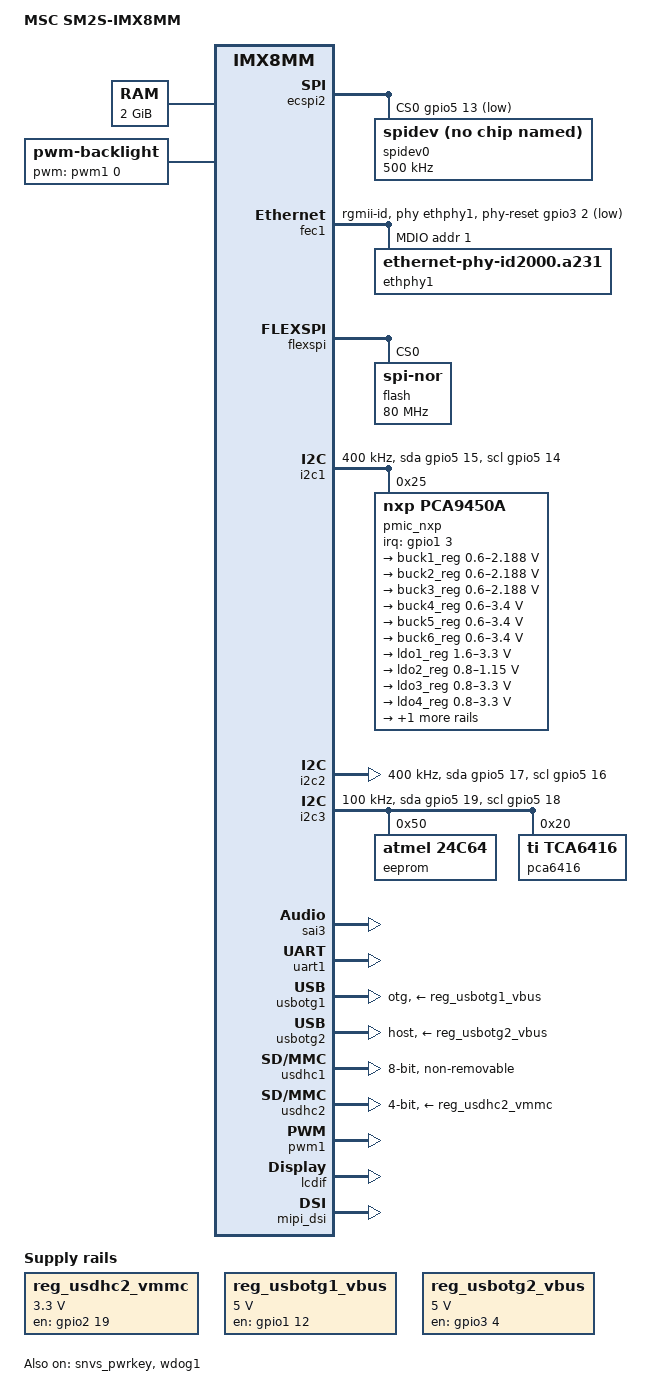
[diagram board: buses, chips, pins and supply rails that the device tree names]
// SPDX-License-Identifier: (GPL-2.0+ OR MIT)
/*
 * Copyright 2024 Avnet Silica
 */

/dts-v1/;

#include <dt-bindings/net/ti-dp83867.h>
#include <dt-bindings/phy/phy-imx8-pcie.h>
#include <dt-bindings/usb/pd.h>
#include "imx8mm.dtsi"

/ {
	model = "MSC SM2S-IMX8MM";
	compatible = "msc,sm2s-imx8mm", "msc,imx8mm";

	aliases {
		mmc0 = &usdhc1;
		mmc1 = &usdhc2;
		ethernet0 = &fec1;
	};

	chosen {
		stdout-path = &uart1;
		bootargs = "console=ttymxc0,115200 earlycon=ec_imx6q,0x30860000,115200";
	};

	memory@40000000 {
		device_type = "memory";
		reg = <0x0 0x40000000 0 0x80000000>;
	};

	reg_usdhc2_vmmc: regulator-usdhc2 {
		compatible = "regulator-fixed";
		regulator-name = "VSD_3V3";
		regulator-min-microvolt = <3300000>;
		regulator-max-microvolt = <3300000>;
		gpio = <&gpio2 19 GPIO_ACTIVE_HIGH>;
		enable-active-high;
	};

	reg_usbotg1_vbus: regulator-usbotg1-vbus {
		compatible = "regulator-fixed";
		pinctrl-names = "default";
		pinctrl-0 = <&pinctrl_reg_usbotg1>;
		regulator-name = "regulator-usbotg1-vbus";
		gpio = <&gpio1 12 GPIO_ACTIVE_HIGH>;
		regulator-min-microvolt = <5000000>;
		regulator-max-microvolt = <5000000>;
		enable-active-high;
	};

	reg_usbotg2_vbus: regulator-usbotg2-vbus {
		compatible = "regulator-fixed";
		pinctrl-names = "default";
		pinctrl-0 = <&pinctrl_reg_usbotg2>;
		regulator-name = "regulator-usbotg2-vbus";
		gpio = <&gpio3 4 GPIO_ACTIVE_HIGH>;
		regulator-min-microvolt = <5000000>;
		regulator-max-microvolt = <5000000>;
		enable-active-high;
	};

	backlight: backlight {
		compatible = "pwm-backlight";
		pwms = <&pwm1 0 5000000 0>;
		brightness-levels = <0 255>;
		num-interpolated-steps = <255>;
		default-brightness-level = <250>;
	};

	dsi_host: dsi-host {
		compatible = "samsung,sec-mipi-dsi";
		status = "okay";
	};
};

&A53_0 {
	cpu-supply = <&buck2_reg>;
};

&A53_1 {
	cpu-supply = <&buck2_reg>;
};

&A53_2 {
	cpu-supply = <&buck2_reg>;
};

&A53_3 {
	cpu-supply = <&buck2_reg>;
};


&ecspi2 {
	#address-cells = <1>;
	#size-cells = <0>;
	pinctrl-names = "default";
	pinctrl-0 = <&pinctrl_ecspi2 &pinctrl_ecspi2_cs>;
	cs-gpios = <&gpio5 13 GPIO_ACTIVE_LOW>;
	status = "okay";

	spidev0: spi@0 {
		reg = <0>;
		compatible = "rohm,dh2228fv";
		spi-max-frequency = <500000>;
	};
};

&fec1 {
	pinctrl-names = "default";
	pinctrl-0 = <&pinctrl_fec1>;
	phy-mode = "rgmii-id";
	phy-handle = <&ethphy1>;
	phy-reset-gpios = <&gpio3 2 GPIO_ACTIVE_LOW>;
	fsl,magic-packet;
	status = "okay";

	mdio {
		#address-cells = <1>;
		#size-cells = <0>;

		ethphy1: ethernet-phy@1 {
			reg = <1>;
			compatible = "ethernet-phy-id2000.a231";
			ti,rx-internal-delay = <DP83867_RGMIIDCTL_2_25_NS>;
			ti,tx-internal-delay = <DP83867_RGMIIDCTL_2_75_NS>;
			ti,fifo-depth = <DP83867_PHYCR_FIFO_DEPTH_4_B_NIB>;
		};
	};
};

&flexspi {
	pinctrl-names = "default";
	pinctrl-0 = <&pinctrl_flexspi>;
	status = "okay";

	flash@0 {
		reg = <0>;
		#address-cells = <1>;
		#size-cells = <1>;
		compatible = "jedec,spi-nor";
		spi-max-frequency = <80000000>;
		spi-tx-bus-width = <1>;
		spi-rx-bus-width = <4>;
	};
};

&i2c1 {
	clock-frequency = <400000>;
	pinctrl-names = "default", "gpio";
	pinctrl-0 = <&pinctrl_i2c1>;
	pinctrl-1 = <&pinctrl_i2c1_gpio>;
	scl-gpios = <&gpio5 14 GPIO_ACTIVE_HIGH>;
	sda-gpios = <&gpio5 15 GPIO_ACTIVE_HIGH>;
	status = "okay";

	pmic_nxp: pca9450@25 {
		compatible = "nxp,pca9450a";
		reg = <0x25>;
		pinctrl-0 = <&pinctrl_pmic>;
		pinctrl-names = "default";
		interrupt-parent = <&gpio1>;
		interrupts = <3 IRQ_TYPE_LEVEL_LOW>;

		regulators {
			buck1_reg: BUCK1 {
				regulator-name = "BUCK1";
				regulator-min-microvolt = <600000>;
				regulator-max-microvolt = <2187500>;
				regulator-boot-on;
				regulator-always-on;
				regulator-ramp-delay = <3125>;
				nxp,dvs-run-voltage = <850000>;
				nxp,dvs-standby-voltage = <800000>;
			};

			buck2_reg: BUCK2 {
				regulator-name = "BUCK2";
				regulator-min-microvolt = <600000>;
				regulator-max-microvolt = <2187500>;
				regulator-boot-on;
				regulator-always-on;
				regulator-ramp-delay = <3125>;
			};

			buck3_reg: BUCK3 {
				regulator-name = "BUCK3";
				regulator-min-microvolt = <600000>;
				regulator-max-microvolt = <2187500>;
				regulator-boot-on;
				regulator-always-on;
			};

			buck4_reg: BUCK4 {
				regulator-name = "BUCK4";
				regulator-min-microvolt = <600000>;
				regulator-max-microvolt = <3400000>;
				regulator-boot-on;
				regulator-always-on;
			};

			buck5_reg: BUCK5 {
				regulator-name = "BUCK5";
				regulator-min-microvolt = <600000>;
				regulator-max-microvolt = <3400000>;
				regulator-boot-on;
				regulator-always-on;
			};

			buck6_reg: BUCK6 {
				regulator-name = "BUCK6";
				regulator-min-microvolt = <600000>;
				regulator-max-microvolt = <3400000>;
				regulator-boot-on;
				regulator-always-on;
			};

			ldo1_reg: LDO1 {
				regulator-name = "LDO1";
				regulator-min-microvolt = <1600000>;
				regulator-max-microvolt = <3300000>;
				regulator-boot-on;
				regulator-always-on;
			};

			ldo2_reg: LDO2 {
				regulator-name = "LDO2";
				regulator-min-microvolt = <800000>;
				regulator-max-microvolt = <1150000>;
				regulator-boot-on;
				regulator-always-on;
			};

			ldo3_reg: LDO3 {
				regulator-name = "LDO3";
				regulator-min-microvolt = <800000>;
				regulator-max-microvolt = <3300000>;
				regulator-boot-on;
				regulator-always-on;
			};

			ldo4_reg: LDO4 {
				regulator-name = "LDO4";
				regulator-min-microvolt = <800000>;
				regulator-max-microvolt = <3300000>;
				regulator-boot-on;
				regulator-always-on;
			};

			ldo5_reg: LDO5 {
				regulator-name = "LDO5";
				regulator-min-microvolt = <1800000>;
				regulator-max-microvolt = <3300000>;
			};

		};
	};
};

&i2c2 {
	clock-frequency = <400000>;
	pinctrl-names = "default", "gpio";
	pinctrl-0 = <&pinctrl_i2c2>;
	pinctrl-1 = <&pinctrl_i2c2_gpio>;
	scl-gpios = <&gpio5 16 GPIO_ACTIVE_HIGH>;
	sda-gpios = <&gpio5 17 GPIO_ACTIVE_HIGH>;
	status = "okay";
};

&i2c3 {
	clock-frequency = <100000>;
	pinctrl-names = "default", "gpio";
	pinctrl-0 = <&pinctrl_i2c3>;
	pinctrl-1 = <&pinctrl_i2c3_gpio>;
	scl-gpios = <&gpio5 18 GPIO_ACTIVE_HIGH>;
	sda-gpios = <&gpio5 19 GPIO_ACTIVE_HIGH>;
	status = "okay";

	eeprom@50 {
		compatible = "atmel,24c64";
		reg = <0x50>;
	};

	pca6416: gpio@20 {
		compatible = "ti,tca6416";
		reg = <0x20>;
		gpio-controller;
		#gpio-cells = <2>;
	};
};

&sai3 {
	pinctrl-names = "default";
	pinctrl-0 = <&pinctrl_sai3>;
	assigned-clocks = <&clk IMX8MM_CLK_SAI3>;
	assigned-clock-parents = <&clk IMX8MM_AUDIO_PLL1_OUT>;
	assigned-clock-rates = <24576000>;
	status = "okay";
};

&snvs_pwrkey {
	status = "okay";
};

&uart1 { /* console */
	pinctrl-names = "default";
	pinctrl-0 = <&pinctrl_uart1>;
	uart-has-rtscts;
	status = "okay";
};

&usbotg1 {
	pinctrl-names = "default";
	pinctrl-0 = <&pinctrl_usbotg1_id>;
	dr_mode = "otg";
	extcon;
	disable-over-current;
	vbus-supply = <&reg_usbotg1_vbus>;
	status = "okay";
};

&usbotg2 {
	pinctrl-names = "default";
	pinctrl-0 = <&pinctrl_usbotg2>;
	dr_mode = "host";
	disable-over-current;
	vbus-supply = <&reg_usbotg2_vbus>;
	status = "okay";
};

/* Module eMMC */
&usdhc1 {
	pinctrl-names = "default", "state_100mhz", "state_200mhz";
	pinctrl-0 = <&pinctrl_usdhc1>, <&pinctrl_usdhc1_reset>;
	pinctrl-1 = <&pinctrl_usdhc1_100mhz>, <&pinctrl_usdhc1_reset>;
	pinctrl-2 = <&pinctrl_usdhc1_200mhz>, <&pinctrl_usdhc1_reset>;
	bus-width = <8>;
	non-removable;
	status = "okay";
};

/* Baseboard sd */
&usdhc2 {
	pinctrl-names = "default", "state_100mhz", "state_200mhz";
	pinctrl-0 = <&pinctrl_usdhc2>, <&pinctrl_usdhc2_gpio>;
	pinctrl-1 = <&pinctrl_usdhc2_100mhz>, <&pinctrl_usdhc2_gpio>;
	pinctrl-2 = <&pinctrl_usdhc2_200mhz>, <&pinctrl_usdhc2_gpio>;
	bus-width = <4>;
	vmmc-supply = <&reg_usdhc2_vmmc>;
	status = "okay";
};

&wdog1 {
	pinctrl-names = "default";
	pinctrl-0 = <&pinctrl_wdog>;
	fsl,ext-reset-output;
	status = "okay";
};

&pwm1 {
	pinctrl-names = "default";
	pinctrl-0 = <&pinctrl_backlight>;
	status = "okay";
};

&lcdif {
	status = "okay";
};

&mipi_dsi {
	status = "okay";
};

&iomuxc {
	pinctrl_ecspi2: ecspi2grp {
		fsl,pins = <
			MX8MM_IOMUXC_ECSPI2_SCLK_ECSPI2_SCLK		0x82
			MX8MM_IOMUXC_ECSPI2_MOSI_ECSPI2_MOSI		0x82
			MX8MM_IOMUXC_ECSPI2_MISO_ECSPI2_MISO		0x82
		>;
	};

	pinctrl_ecspi2_cs: ecspi2csgrp {
		fsl,pins = <
			MX8MM_IOMUXC_ECSPI2_SS0_GPIO5_IO13		0x40000
		>;
	};

	pinctrl_fec1: fec1grp {
		fsl,pins = <
			MX8MM_IOMUXC_ENET_MDC_ENET1_MDC			0x3
			MX8MM_IOMUXC_ENET_MDIO_ENET1_MDIO		0x3
			MX8MM_IOMUXC_ENET_TX_CTL_ENET1_RGMII_TX_CTL	0x1f
			MX8MM_IOMUXC_ENET_TXC_ENET1_RGMII_TXC		0x1f
			MX8MM_IOMUXC_ENET_TD0_ENET1_RGMII_TD0		0x1f
			MX8MM_IOMUXC_ENET_TD1_ENET1_RGMII_TD1		0x1f
			MX8MM_IOMUXC_ENET_TD2_ENET1_RGMII_TD2		0x1f
			MX8MM_IOMUXC_ENET_TD3_ENET1_RGMII_TD3		0x1f
			MX8MM_IOMUXC_ENET_RX_CTL_ENET1_RGMII_RX_CTL	0x91
			MX8MM_IOMUXC_ENET_RXC_ENET1_RGMII_RXC		0x91
			MX8MM_IOMUXC_ENET_RD0_ENET1_RGMII_RD0		0x91
			MX8MM_IOMUXC_ENET_RD1_ENET1_RGMII_RD1		0x91
			MX8MM_IOMUXC_ENET_RD2_ENET1_RGMII_RD2		0x91
			MX8MM_IOMUXC_ENET_RD3_ENET1_RGMII_RD3		0x91
			MX8MM_IOMUXC_NAND_CE1_B_GPIO3_IO2		0x19
			MX8MM_IOMUXC_NAND_CE2_B_GPIO3_IO3		0x40000019
			MX8MM_IOMUXC_GPIO1_IO08_ENET1_1588_EVENT0_IN	0x19
		>;
	};

	pinctrl_gpio_wlf: gpiowlfgrp {
		fsl,pins = <
			MX8MM_IOMUXC_I2C4_SDA_GPIO5_IO21	0xd6
		>;
	};

	pinctrl_i2c1: i2c1grp {
		fsl,pins = <
			MX8MM_IOMUXC_I2C1_SCL_I2C1_SCL			0x400001c3
			MX8MM_IOMUXC_I2C1_SDA_I2C1_SDA			0x400001c3
		>;
	};

	pinctrl_i2c2: i2c2grp {
		fsl,pins = <
			MX8MM_IOMUXC_I2C2_SCL_I2C2_SCL			0x400001c3
			MX8MM_IOMUXC_I2C2_SDA_I2C2_SDA			0x400001c3
		>;
	};

	pinctrl_i2c3: i2c3grp {
		fsl,pins = <
			MX8MM_IOMUXC_I2C3_SCL_I2C3_SCL			0x400001c3
			MX8MM_IOMUXC_I2C3_SDA_I2C3_SDA			0x400001c3
		>;
	};

	pinctrl_i2c1_gpio: i2c1-gpiogrp {
		fsl,pins = <
			MX8MM_IOMUXC_I2C1_SCL_GPIO5_IO14        		0x1c3
			MX8MM_IOMUXC_I2C1_SDA_GPIO5_IO15        	0x1c3
		>;
	};

	pinctrl_i2c2_gpio: i2c2-gpiogrp {
		fsl,pins = <
			MX8MM_IOMUXC_I2C2_SCL_GPIO5_IO16        		0x1c3
			MX8MM_IOMUXC_I2C2_SDA_GPIO5_IO17        	0x1c3
		>;
	};

	pinctrl_i2c3_gpio: i2c3-gpiogrp {
		fsl,pins = <
			MX8MM_IOMUXC_I2C3_SCL_GPIO5_IO18        		0x1c3
			MX8MM_IOMUXC_I2C3_SDA_GPIO5_IO19        	0x1c3
		>;
	};

	pinctrl_pmic: pmicirqgrp {
		fsl,pins = <
			MX8MM_IOMUXC_GPIO1_IO03_GPIO1_IO3		0x141
		>;
	};

	pinctrl_sai3: sai3grp {
		fsl,pins = <
			MX8MM_IOMUXC_SAI3_TXFS_SAI3_TX_SYNC     0xd6
			MX8MM_IOMUXC_SAI3_TXC_SAI3_TX_BCLK      0xd6
			MX8MM_IOMUXC_SAI3_MCLK_SAI3_MCLK        0xd6
			MX8MM_IOMUXC_SAI3_TXD_SAI3_TX_DATA0     0xd6
		>;
	};

	pinctrl_uart1: uart1grp {
		fsl,pins = <
			MX8MM_IOMUXC_UART1_RXD_UART1_DCE_RX	0x49
			MX8MM_IOMUXC_UART1_TXD_UART1_DCE_TX	0x49
			MX8MM_IOMUXC_SAI2_RXD0_UART1_DCE_RTS_B	0x49
			MX8MM_IOMUXC_SAI2_TXFS_UART1_DCE_CTS_B	0x49
		>;
	};

	pinctrl_usbotg1_id: usbotg1idgrp {
		fsl,pins = <
			MX8MM_IOMUXC_GPIO1_IO13_USB1_OTG_OC	0x16
		>;
	};

	pinctrl_reg_usbotg1: regusbotg1grp {
		fsl,pins = <
			MX8MM_IOMUXC_GPIO1_IO12_GPIO1_IO12	0x19
		>;
	};

	pinctrl_reg_usbotg2: regusbotg2grp {
		fsl,pins = <
			MX8MM_IOMUXC_NAND_CE3_B_GPIO3_IO4	0x19
		>;
	};

	pinctrl_usbotg2: usbotg2grp {
		fsl,pins = <
			MX8MM_IOMUXC_NAND_READY_B_GPIO3_IO16	0x40000019
		>;
	};

	pinctrl_usdhc1_reset: usdhc1grp-reset {
		fsl,pins = <
			/* SD1_RESET_B, EMMC_RST */
			MX8MM_IOMUXC_SD1_RESET_B_USDHC1_RESET_B	0x116
		>;
	};

	pinctrl_usdhc1: usdhc1grp {
		fsl,pins = <
			/* SD1_CLK, EMMC_CK */
			MX8MM_IOMUXC_SD1_CLK_USDHC1_CLK			0x40000190
			/* SD1_CMD, EMMC_CMD */
			MX8MM_IOMUXC_SD1_CMD_USDHC1_CMD			0x1d0
			/* SD1_DATA0, EMMC_DATA0 */
			MX8MM_IOMUXC_SD1_DATA0_USDHC1_DATA0		0x1d0
			/* SD1_DATA1, EMMC_DATA1 */
			MX8MM_IOMUXC_SD1_DATA1_USDHC1_DATA1		0x1d0
			/* SD1_DATA2, EMMC_DATA2 */
			MX8MM_IOMUXC_SD1_DATA2_USDHC1_DATA2		0x1d0
			/* SD1_DATA3, EMMC_DATA3 */
			MX8MM_IOMUXC_SD1_DATA3_USDHC1_DATA3		0x1d0
			/* SD1_DATA4, EMMC_DATA4 */
			MX8MM_IOMUXC_SD1_DATA4_USDHC1_DATA4		0x1d0
			/* SD1_DATA5, EMMC_DATA5 */
			MX8MM_IOMUXC_SD1_DATA5_USDHC1_DATA5		0x1d0
			/* SD1_DATA6, EMMC_DATA6 */
			MX8MM_IOMUXC_SD1_DATA6_USDHC1_DATA6		0x1d0
			/* SD1_DATA7, EMMC_DATA7 */
			MX8MM_IOMUXC_SD1_DATA7_USDHC1_DATA7		0x1d0
			/* SD1_STROBE, EMMC_STRB */
			MX8MM_IOMUXC_SD1_STROBE_USDHC1_STROBE		0x190
		>;
	};

	pinctrl_usdhc1_100mhz: usdhc1grp-100mhz {
		fsl,pins = <
			/* SD1_CLK, EMMC_CK */
			MX8MM_IOMUXC_SD1_CLK_USDHC1_CLK			0x40000194
			/* SD1_CMD, EMMC_CMD */
			MX8MM_IOMUXC_SD1_CMD_USDHC1_CMD			0x1d4
			/* SD1_DATA0, EMMC_DATA0 */
			MX8MM_IOMUXC_SD1_DATA0_USDHC1_DATA0		0x1d4
			/* SD1_DATA1, EMMC_DATA1 */
			MX8MM_IOMUXC_SD1_DATA1_USDHC1_DATA1		0x1d4
			/* SD1_DATA2, EMMC_DATA2 */
			MX8MM_IOMUXC_SD1_DATA2_USDHC1_DATA2		0x1d4
			/* SD1_DATA3, EMMC_DATA3 */
			MX8MM_IOMUXC_SD1_DATA3_USDHC1_DATA3		0x1d4
			/* SD1_DATA4, EMMC_DATA4 */
			MX8MM_IOMUXC_SD1_DATA4_USDHC1_DATA4		0x1d4
			/* SD1_DATA5, EMMC_DATA5 */
			MX8MM_IOMUXC_SD1_DATA5_USDHC1_DATA5		0x1d4
			/* SD1_DATA6, EMMC_DATA6 */
			MX8MM_IOMUXC_SD1_DATA6_USDHC1_DATA6		0x1d4
			/* SD1_DATA7, EMMC_DATA7 */
			MX8MM_IOMUXC_SD1_DATA7_USDHC1_DATA7		0x1d4
			/* SD1_STROBE, EMMC_STRB */
			MX8MM_IOMUXC_SD1_STROBE_USDHC1_STROBE		0x194
		>;
	};

	pinctrl_usdhc1_200mhz: usdhc1grp-200mhz {
		fsl,pins = <
			/* SD1_CLK, EMMC_CK */
			MX8MM_IOMUXC_SD1_CLK_USDHC1_CLK			0x40000196
			/* SD1_CMD, EMMC_CMD */
			MX8MM_IOMUXC_SD1_CMD_USDHC1_CMD			0x1d6
			/* SD1_DATA0, EMMC_DATA0 */
			MX8MM_IOMUXC_SD1_DATA0_USDHC1_DATA0		0x1d6
			/* SD1_DATA1, EMMC_DATA1 */
			MX8MM_IOMUXC_SD1_DATA1_USDHC1_DATA1		0x1d6
			/* SD1_DATA2, EMMC_DATA2 */
			MX8MM_IOMUXC_SD1_DATA2_USDHC1_DATA2		0x1d6
			/* SD1_DATA3, EMMC_DATA3 */
			MX8MM_IOMUXC_SD1_DATA3_USDHC1_DATA3		0x1d6
			/* SD1_DATA4, EMMC_DATA4 */
			MX8MM_IOMUXC_SD1_DATA4_USDHC1_DATA4		0x1d6
			/* SD1_DATA5, EMMC_DATA5 */
			MX8MM_IOMUXC_SD1_DATA5_USDHC1_DATA5		0x1d6
			/* SD1_DATA6, EMMC_DATA6 */
			MX8MM_IOMUXC_SD1_DATA6_USDHC1_DATA6		0x1d6
			/* SD1_DATA7, EMMC_DATA7 */
			MX8MM_IOMUXC_SD1_DATA7_USDHC1_DATA7		0x1d6
			/* SD1_STROBE, EMMC_STRB */
			MX8MM_IOMUXC_SD1_STROBE_USDHC1_STROBE		0x196
		>;
	};

	pinctrl_usdhc2_gpio: usdhc2grp-gpio {
		fsl,pins = <
			/* SD2_RESET_B, linux-gpio-id=51 */
			MX8MM_IOMUXC_SD2_RESET_B_GPIO2_IO19		0x41
			MX8MM_IOMUXC_SD2_CD_B_USDHC2_CD_B		0x41
		>;
	};

	pinctrl_usdhc2: usdhc2grp {
		fsl,pins = <
			/* SD2_CLK, SDIO_CK */
			MX8MM_IOMUXC_SD2_CLK_USDHC2_CLK			0x92
			/* SD2_CMD, SDIO_CMD */
			MX8MM_IOMUXC_SD2_CMD_USDHC2_CMD			0x92
			/* SD2_DATA0, SDIO_DATA0 */
			MX8MM_IOMUXC_SD2_DATA0_USDHC2_DATA0		0x92
			/* SD2_DATA1, SDIO_DATA1 */
			MX8MM_IOMUXC_SD2_DATA1_USDHC2_DATA1		0x92
			/* SD2_DATA2, SDIO_DATA2 */
			MX8MM_IOMUXC_SD2_DATA2_USDHC2_DATA2		0x92
			/* SD2_DATA3, SDIO_DATA3 */
			MX8MM_IOMUXC_SD2_DATA3_USDHC2_DATA3		0x92
		>;
	};

	pinctrl_usdhc2_100mhz: usdhc2grp-100mhz {
		fsl,pins = <
			/* SD2_CLK, SDIO_CK */
			MX8MM_IOMUXC_SD2_CLK_USDHC2_CLK			0x94
			/* SD2_CMD, SDIO_CMD */
			MX8MM_IOMUXC_SD2_CMD_USDHC2_CMD			0x94
			/* SD2_DATA0, SDIO_DATA0 */
			MX8MM_IOMUXC_SD2_DATA0_USDHC2_DATA0		0x94
			/* SD2_DATA1, SDIO_DATA1 */
			MX8MM_IOMUXC_SD2_DATA1_USDHC2_DATA1		0x94
			/* SD2_DATA2, SDIO_DATA2 */
			MX8MM_IOMUXC_SD2_DATA2_USDHC2_DATA2		0x94
			/* SD2_DATA3, SDIO_DATA3 */
			MX8MM_IOMUXC_SD2_DATA3_USDHC2_DATA3		0x94
		>;
	};

	pinctrl_usdhc2_200mhz: usdhc2grp-200mhz {
		fsl,pins = <
			/* SD2_CLK, SDIO_CK */
			MX8MM_IOMUXC_SD2_CLK_USDHC2_CLK			0x96
			/* SD2_CMD, SDIO_CMD */
			MX8MM_IOMUXC_SD2_CMD_USDHC2_CMD			0x96
			/* SD2_DATA0, SDIO_DATA0 */
			MX8MM_IOMUXC_SD2_DATA0_USDHC2_DATA0		0x96
			/* SD2_DATA1, SDIO_DATA1 */
			MX8MM_IOMUXC_SD2_DATA1_USDHC2_DATA1		0x96
			/* SD2_DATA2, SDIO_DATA2 */
			MX8MM_IOMUXC_SD2_DATA2_USDHC2_DATA2		0x96
			/* SD2_DATA3, SDIO_DATA3 */
			MX8MM_IOMUXC_SD2_DATA3_USDHC2_DATA3		0x96
		>;
	};

	pinctrl_flexspi: flexspigrp {
		fsl,pins = <
			MX8MM_IOMUXC_NAND_ALE_QSPI_A_SCLK               0x1c2
			MX8MM_IOMUXC_NAND_CE0_B_QSPI_A_SS0_B            0x82
			MX8MM_IOMUXC_NAND_DATA00_QSPI_A_DATA0           0x82
			MX8MM_IOMUXC_NAND_DATA01_QSPI_A_DATA1           0x82
			MX8MM_IOMUXC_NAND_DATA02_QSPI_A_DATA2           0x82
			MX8MM_IOMUXC_NAND_DATA03_QSPI_A_DATA3           0x82
		>;
	};

	pinctrl_wdog: wdoggrp {
		fsl,pins = <
			MX8MM_IOMUXC_GPIO1_IO02_WDOG1_WDOG_B	0x166
		>;
	};

	pinctrl_backlight: backlightgrp {
		fsl,pins = <
			MX8MM_IOMUXC_GPIO1_IO01_PWM1_OUT	0x06
		>;
	};
};
